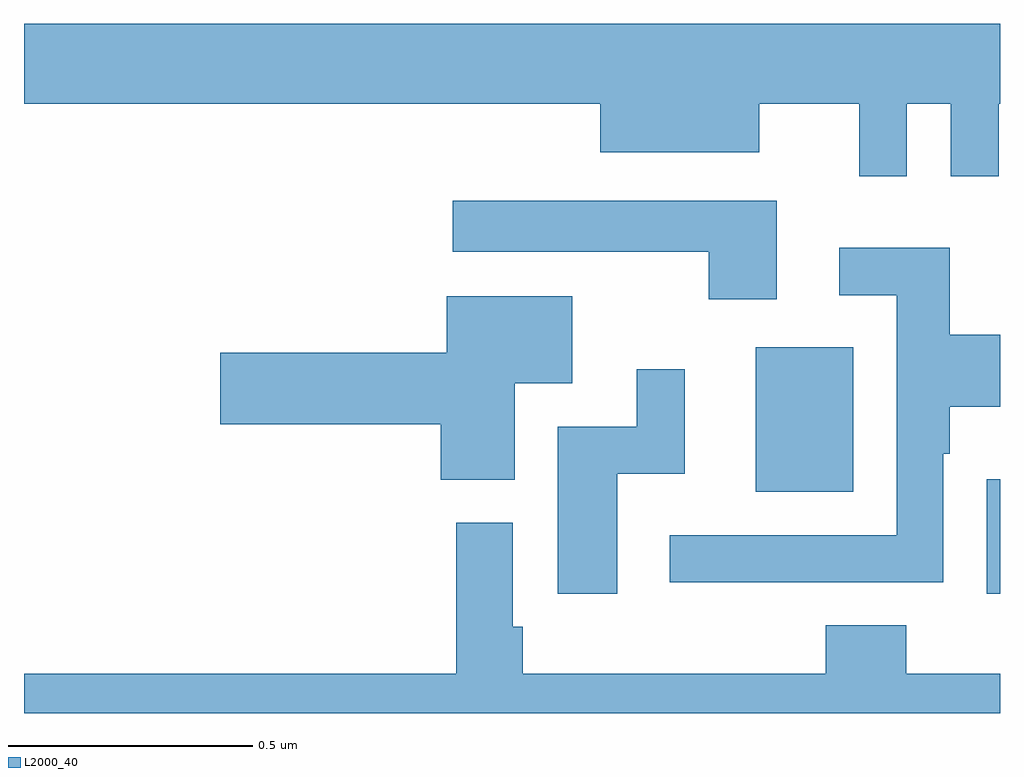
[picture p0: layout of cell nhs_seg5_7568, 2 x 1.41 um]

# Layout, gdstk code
import gdstk
lib = gdstk.Library(unit=1e-6, precision=1e-09)
def R(c, l, rs):  # rectangles x0, y0, x1, y1
    for r in rs: c.add(gdstk.rectangle(r[:2], r[2:], *l))
def P(c, l, *ps):  # polygons
    for p in ps: c.add(gdstk.Polygon(p, *l))
L2000_40 = (2000, 40)

nhs_seg5_7568 = lib.new_cell('nhs_seg5_7568')
R(nhs_seg5_7568, L2000_40, [(211.973,901.044,212,901.279), (211.499,901.253,211.699,901.549)])
P(nhs_seg5_7568, L2000_40, [(211.809,902.048),(211.899,902.048),(211.899,901.899),(211.997,901.899),(211.997,902.048),(212,902.048),(212,902.212),(210,902.212),(210,902.048),(211.181,902.048),(211.181,901.949),(211.507,901.949),(211.507,902.048),(211.712,902.048),(211.712,901.899),(211.809,901.899)],
  [(211.543,901.849),(210.879,901.849),(210.879,901.745),(211.403,901.745),(211.403,901.647),(211.543,901.647)],
  [(211.559,901.068),(211.884,901.068),(211.884,901.331),(211.897,901.331),(211.897,901.427),(212,901.427),(212,901.575),(211.897,901.575),(211.897,901.753),(211.671,901.753),(211.671,901.656),(211.788,901.656),(211.788,901.164),(211.323,901.164),(211.323,901.067),(211.559,901.067)],
  [(211.006,901.475),(211.123,901.475),(211.123,901.654),(210.866,901.654),(210.866,901.538),(210.402,901.538),(210.402,901.391),(210.854,901.391),(210.854,901.278),(211.006,901.278)],
  [(211.216,901.29),(211.354,901.29),(211.354,901.504),(211.256,901.504),(211.256,901.386),(211.094,901.386),(211.094,901.044),(211.216,901.044)],
  [(212,900.88),(211.808,900.88),(211.808,900.979),(211.643,900.979),(211.643,900.88),(211.022,900.88),(211.022,900.976),(211.002,900.976),(211.002,901.189),(210.886,901.189),(210.886,900.88),(210,900.88),(210,900.799),(212,900.799)])

lib.write_gds('nhs_seg5_7568.gds')
